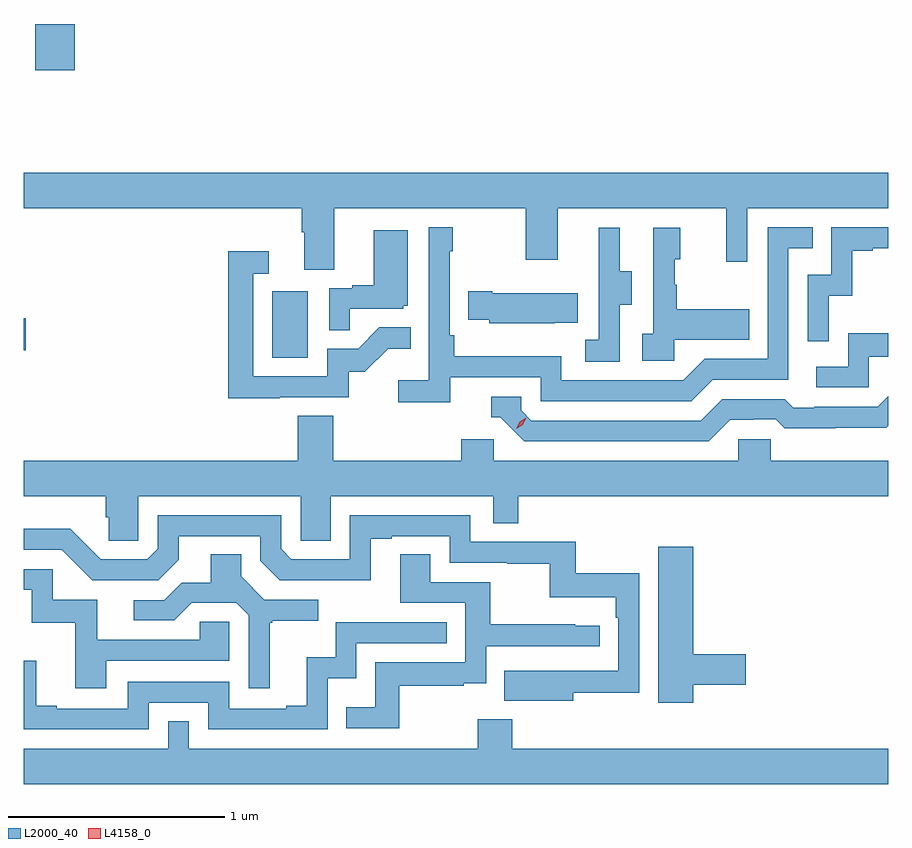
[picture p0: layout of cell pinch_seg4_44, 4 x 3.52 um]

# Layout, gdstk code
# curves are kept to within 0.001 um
import gdstk
lib = gdstk.Library(unit=1e-6, precision=1e-09)
def R(c, l, rs):  # rectangles x0, y0, x1, y1
    for r in rs: c.add(gdstk.rectangle(r[:2], r[2:], *l))
def P(c, l, *ps):  # polygons
    for p in ps: c.add(gdstk.Polygon(p, *l))
L2000_40 = (2000, 40)
L4158_0 = (4158, 0)

pinch_seg4_44 = lib.new_cell('pinch_seg4_44')
R(pinch_seg4_44, L2000_40, [(1129.91,821.436,1130.074,821.743), (1128.759,821.471,1128.769,821.618), (1128.812,822.765,1128.995,822.979)])
P(pinch_seg4_44, L2000_40, [(1130.197,822.128),(1131.082,822.128),(1131.082,821.889),(1131.229,821.889),(1131.229,822.128),(1132.01,822.128),(1132.01,821.88),(1132.107,821.88),(1132.107,822.128),(1132.759,822.128),(1132.759,822.292),(1128.759,822.292),(1128.759,822.128),(1130.045,822.128),(1130.045,822.016),(1130.057,822.016),(1130.057,821.842),(1130.197,821.842)],
  [(1130.732,821.346),(1131.15,821.346),(1131.15,821.235),(1131.847,821.235),(1131.946,821.334),(1132.296,821.334),(1132.296,821.943),(1132.409,821.943),(1132.409,822.039),(1132.2,822.039),(1132.2,821.43),(1131.909,821.43),(1131.81,821.331),(1131.246,821.331),(1131.246,821.443),(1130.75,821.443),(1130.75,821.539),(1130.73,821.539),(1130.73,821.927),(1130.743,821.927),(1130.743,822.04),(1130.634,822.04),(1130.634,821.332),(1130.493,821.332),(1130.493,821.23),(1130.732,821.23)],
  [(1132.482,821.723),(1132.592,821.723),(1132.592,821.931),(1132.687,821.931),(1132.687,821.943),(1132.759,821.943),(1132.759,822.039),(1132.494,822.039),(1132.494,821.82),(1132.386,821.82),(1132.386,821.511),(1132.482,821.511)],
  [(1131.516,821.68),(1131.571,821.68),(1131.571,821.835),(1131.517,821.835),(1131.517,822.037),(1131.419,822.037),(1131.419,821.823),(1131.42,821.823),(1131.42,821.519),(1131.357,821.519),(1131.357,821.416),(1131.516,821.416)],
  [(1131.768,821.519),(1132.115,821.519),(1132.115,821.659),(1131.781,821.659),(1131.781,821.774),(1131.771,821.774),(1131.771,821.892),(1131.796,821.892),(1131.796,822.037),(1131.672,822.037),(1131.672,821.546),(1131.621,821.546),(1131.621,821.421),(1131.768,821.421)],
  [(1130.267,821.661),(1130.514,821.661),(1130.514,821.676),(1130.536,821.676),(1130.536,822.025),(1130.378,822.025),(1130.378,821.77),(1130.279,821.77),(1130.279,821.757),(1130.172,821.757),(1130.172,821.563),(1130.267,821.563)],
  [(1129.943,821.253),(1130.262,821.253),(1130.262,821.37),(1130.338,821.37),(1130.445,821.477),(1130.549,821.477),(1130.549,821.576),(1130.405,821.576),(1130.307,821.478),(1130.163,821.478),(1130.163,821.349),(1129.821,821.349),(1129.821,821.823),(1129.894,821.823),(1129.894,821.929),(1129.705,821.929),(1129.705,821.248),(1129.943,821.248)],
  [(1131.215,821.597),(1131.323,821.597),(1131.323,821.734),(1130.926,821.734),(1130.926,821.742),(1130.815,821.742),(1130.815,821.612),(1130.913,821.612),(1130.913,821.594),(1131.215,821.594)],
  [(1132.668,821.439),(1132.759,821.439),(1132.759,821.548),(1132.572,821.548),(1132.572,821.394),(1132.425,821.394),(1132.425,821.298),(1132.668,821.298)],
  [(1132.027,821.148),(1132.134,821.148),(1132.134,821.151),(1132.237,821.151),(1132.279,821.109),(1132.512,821.109),(1132.512,821.111),(1132.748,821.111),(1132.759,821.122),(1132.759,821.257),(1132.71,821.208),(1132.417,821.208),(1132.417,821.205),(1132.318,821.205),(1132.279,821.244),(1131.99,821.244),(1131.891,821.145),(1131.108,821.145),(1131.06,821.193),(1131.06,821.256),(1130.921,821.256),(1130.921,821.16),(1130.964,821.16),(1131.075,821.049),(1131.928,821.049)],
  [(1129.29,820.796),(1130.04,820.796),(1130.04,820.588),(1130.179,820.588),(1130.179,820.796),(1130.931,820.796),(1130.931,820.669),(1131.047,820.669),(1131.047,820.796),(1132.759,820.796),(1132.759,820.96),(1132.215,820.96),(1132.215,821.058),(1132.065,821.058),(1132.065,820.96),(1130.934,820.96),(1130.934,821.058),(1130.783,821.058),(1130.783,820.96),(1130.192,820.96),(1130.192,821.168),(1130.027,821.168),(1130.027,820.96),(1128.759,820.96),(1128.759,820.796),(1129.139,820.796),(1129.139,820.698),(1129.153,820.698),(1129.153,820.588),(1129.29,820.588)],
  [(1131.301,819.886),(1131.606,819.886),(1131.606,820.438),(1131.313,820.438),(1131.313,820.584),(1130.826,820.584),(1130.826,820.707),(1130.268,820.707),(1130.268,820.503),(1129.998,820.503),(1129.95,820.551),(1129.95,820.707),(1129.38,820.707),(1129.38,820.551),(1129.332,820.503),(1129.116,820.503),(1128.974,820.645),(1128.759,820.645),(1128.759,820.548),(1128.936,820.548),(1129.077,820.407),(1129.383,820.407),(1129.477,820.501),(1129.477,820.611),(1129.854,820.611),(1129.854,820.497),(1129.944,820.407),(1130.365,820.406),(1130.365,820.599),(1130.461,820.599),(1130.461,820.611),(1130.73,820.611),(1130.73,820.488),(1130.995,820.488),(1130.995,820.483),(1131.192,820.483),(1131.192,820.328),(1131.497,820.328),(1131.497,820.232),(1131.51,820.232),(1131.51,819.987),(1130.983,819.988),(1130.983,819.848),(1131.301,819.848)],
  [(1131.856,819.922),(1132.099,819.922),(1132.099,820.064),(1131.856,820.064),(1131.856,820.561),(1131.695,820.561),(1131.695,819.84),(1131.856,819.84)],
  [(1129.897,820.209),(1129.909,820.209),(1129.909,820.22),(1130.122,820.22),(1130.122,820.317),(1129.872,820.317),(1129.765,820.424),(1129.765,820.526),(1129.625,820.526),(1129.625,820.394),(1129.49,820.394),(1129.41,820.314),(1129.269,820.314),(1129.269,820.221),(1129.456,820.221),(1129.537,820.302),(1129.743,820.302),(1129.8,820.245),(1129.8,819.906),(1129.897,819.906)],
  [(1130.497,819.918),(1130.795,819.918),(1130.795,819.929),(1130.898,819.929),(1130.898,820.101),(1131.424,820.101),(1131.424,820.197),(1131.311,820.197),(1131.311,820.202),(1130.918,820.202),(1130.918,820.398),(1130.641,820.398),(1130.641,820.526),(1130.501,820.526),(1130.501,820.302),(1130.802,820.302),(1130.802,820.026),(1130.386,820.026),(1130.386,819.82),(1130.251,819.82),(1130.251,819.723),(1130.497,819.723)],
  [(1129.141,820.035),(1129.71,820.035),(1129.71,820.215),(1129.573,820.215),(1129.573,820.131),(1129.099,820.131),(1129.099,820.317),(1128.894,820.317),(1128.894,820.458),(1128.759,820.458),(1128.759,820.362),(1128.798,820.362),(1128.798,820.209),(1128.997,820.209),(1128.997,819.906),(1129.141,819.906)],
  [(1129.338,819.84),(1129.614,819.84),(1129.614,819.717),(1130.166,819.717),(1130.166,819.953),(1130.298,819.953),(1130.298,820.116),(1130.717,820.116),(1130.717,820.212),(1130.202,820.212),(1130.202,820.051),(1130.069,820.051),(1130.069,819.826),(1129.973,819.826),(1129.973,819.813),(1129.71,819.813),(1129.71,819.936),(1129.242,819.936),(1129.242,819.813),(1128.913,819.813),(1128.913,819.826),(1128.818,819.826),(1128.818,820.034),(1128.759,820.034),(1128.759,819.717),(1129.338,819.717)],
  [(1132.759,819.628),(1131.02,819.628),(1131.02,819.763),(1130.86,819.763),(1130.86,819.628),(1129.524,819.628),(1129.524,819.755),(1129.428,819.755),(1129.428,819.628),(1128.759,819.628),(1128.759,819.464),(1132.759,819.464)])
P(pinch_seg4_44, L4158_0, [(1131.037,821.107),(1131.037,821.107),(1131.053,821.14),(1131.083,821.159),(1131.084,821.159),(1131.084,821.159),(1131.068,821.126),(1131.037,821.107)])

lib.write_gds('pinch_seg4_44.gds')
